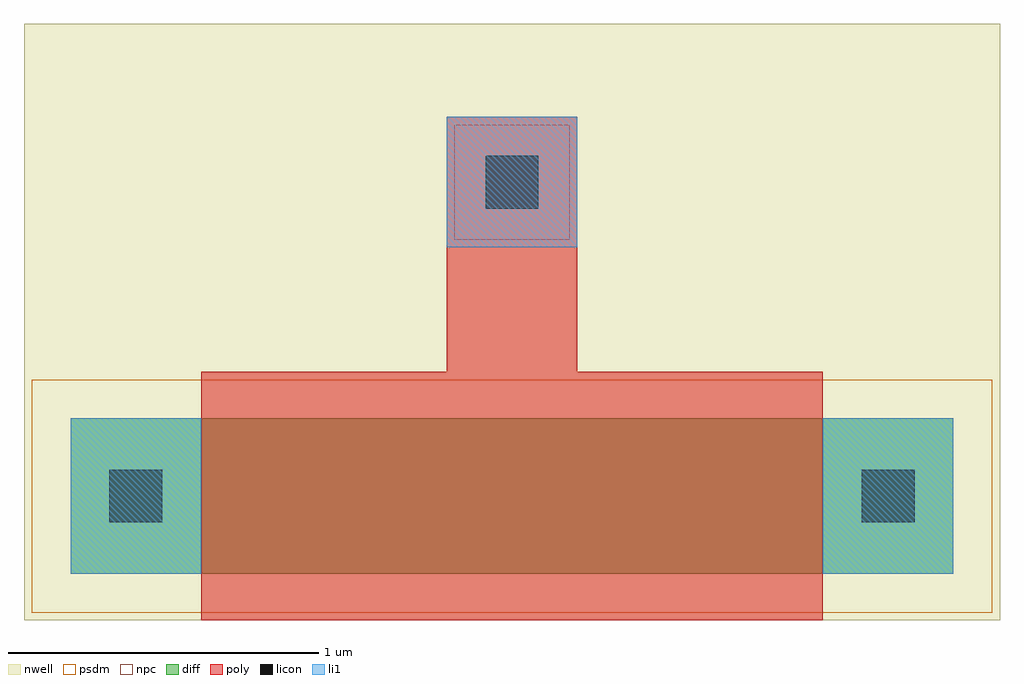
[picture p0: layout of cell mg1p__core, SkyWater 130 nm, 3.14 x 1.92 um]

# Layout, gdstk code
import gdstk
lib = gdstk.Library(unit=1e-6, precision=1e-09)
def R(c, l, rs):  # rectangles x0, y0, x1, y1
    for r in rs: c.add(gdstk.rectangle(r[:2], r[2:], *l))
nwell = (64, 20)
diff = (65, 20)
poly = (66, 20)
licon = (66, 44)
li1 = (67, 20)
psdm = (94, 20)
npc = (95, 20)

mg1p__core = lib.new_cell('mg1p__core')
R(mg1p__core, nwell, [(-0.15,-0.15,2.99,1.77)])
R(mg1p__core, diff, [(0,0,2.84,0.5)])
R(mg1p__core, poly, [(0.42,-0.15,2.42,0.5), (0.42,0.5,2.42,0.65), (0.42,0.5,2.42,0.65), (1.21,0.65,1.63,1.47)])
R(mg1p__core, licon, [(0.125,0.165,0.295,0.335), (2.545,0.165,2.715,0.335), (1.335,1.175,1.505,1.345)])
R(mg1p__core, li1, [(0,0,0.42,0.5), (2.42,0,2.84,0.5), (1.21,1.05,1.63,1.47)])
R(mg1p__core, psdm, [(-0.125,-0.125,2.965,0.625)])
R(mg1p__core, npc, [(1.235,1.075,1.605,1.445)])

lib.write_gds('mg1p__core.gds')
